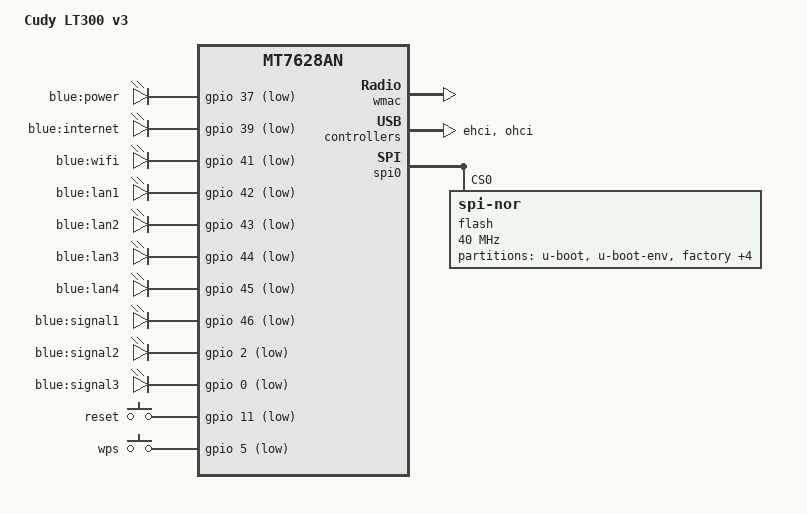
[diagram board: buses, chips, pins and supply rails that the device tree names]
// SPDX-License-Identifier: GPL-2.0-or-later OR MIT

#include "mt7628an.dtsi"

#include <dt-bindings/gpio/gpio.h>
#include <dt-bindings/input/input.h>
#include <dt-bindings/leds/common.h>

/ {
	compatible = "cudy,lt300-v3", "mediatek,mt7628an-soc";
	model = "Cudy LT300 v3";

	aliases {
		led-boot = &led_power;
		led-running = &led_power;
		led-failsafe = &led_power;
		led-upgrade = &led_power;
		label-mac-device = &ethernet;
	};

	chosen {
		bootargs = "console=ttyS0,115200";
	};

	leds {
		compatible = "gpio-leds";

		led_power: power {
			label = "blue:power";
			gpios = <&gpio 37 GPIO_ACTIVE_LOW>;
		};

		internet {
			label = "blue:internet";
			gpios = <&gpio 39 GPIO_ACTIVE_LOW>;
		};

		wifi {
			label = "blue:wifi";
			gpios = <&gpio 41 GPIO_ACTIVE_LOW>;
		};

		lan1 {
			label = "blue:lan1";
			gpios = <&gpio 42 GPIO_ACTIVE_LOW>;
		};

		lan2 {
			label = "blue:lan2";
			gpios = <&gpio 43 GPIO_ACTIVE_LOW>;
		};

		lan3 {
			label = "blue:lan3";
			gpios = <&gpio 44 GPIO_ACTIVE_LOW>;
		};

		lan4 {
			label = "blue:lan4";
			gpios = <&gpio 45 GPIO_ACTIVE_LOW>;
		};

		signal1 {
			label = "blue:signal1";
			gpios = <&gpio 46 GPIO_ACTIVE_LOW>;
		};

		signal2 {
			label = "blue:signal2";
			gpios = <&gpio 2 GPIO_ACTIVE_LOW>;
		};

		signal3 {
			label = "blue:signal3";
			gpios = <&gpio 0 GPIO_ACTIVE_LOW>;
		};
	};

	gpio-keys {
		compatible = "gpio-keys";

		reset {
			label = "reset";
			linux,code = <KEY_RESTART>;
			gpios = <&gpio 11 GPIO_ACTIVE_LOW>;
		};

		wps {
			label = "wps";
			gpios = <&gpio 5 GPIO_ACTIVE_LOW>;
			linux,code = <KEY_WPS_BUTTON>;
		};
	};
};

&state_default {
	gpio {
		groups = "i2c", "gpio", "wdt", "p0led_an", "wled_an";
		function = "gpio";
	};
};

&wmac {
	status = "okay";
	nvmem-cells = <&eeprom_factory_0>, <&macaddr_bdinfo_de00 0>;
	nvmem-cell-names = "eeprom", "mac-address";
};

&ethernet {
	nvmem-cells = <&macaddr_bdinfo_de00 0>;
	nvmem-cell-names = "mac-address";
};

&ehci {
	status = "okay";
};

&ohci {
	status = "okay";
};

&spi0 {
	status = "okay";

	flash@0 {
		compatible = "jedec,spi-nor";
		reg = <0>;
		spi-max-frequency = <40000000>;

		partitions {
			compatible = "fixed-partitions";
			#address-cells = <1>;
			#size-cells = <1>;

			partition@0 {
				label = "u-boot";
				reg = <0x0 0x30000>;
				read-only;
			};

			partition@30000 {
				label = "u-boot-env";
				reg = <0x30000 0x10000>;
				read-only;
			};

			partition@40000 {
				label = "factory";
				reg = <0x40000 0x10000>;
				read-only;

				nvmem-layout {
					compatible = "fixed-layout";
					#address-cells = <1>;
					#size-cells = <1>;

					eeprom_factory_0: eeprom@0 {
						reg = <0x0 0x400>;
					};

					eeprom_factory_8000: eeprom@8000 {
						reg = <0x8000 0x4da8>;
					};
				};
			};

			partition@50000 {
				compatible = "denx,uimage";
				label = "firmware";
				reg = <0x50000 0xf80000>;
			};

			partition@fd0000 {
				label = "debug";
				reg = <0xfd0000 0x10000>;
				read-only;
			};

			partition@fe0000 {
				label = "backup";
				reg = <0xfe0000 0x10000>;
				read-only;
			};

			partition@ff0000 {
				label = "bdinfo";
				reg = <0xff0000 0x10000>;
				read-only;

				nvmem-layout {
					compatible = "fixed-layout";
					#address-cells = <1>;
					#size-cells = <1>;

					macaddr_bdinfo_de00: macaddr@de00 {
						compatible = "mac-base";
						reg = <0xde00 0x6>;
						#nvmem-cell-cells = <1>;
					};
				};
			};
		};
	};
};
